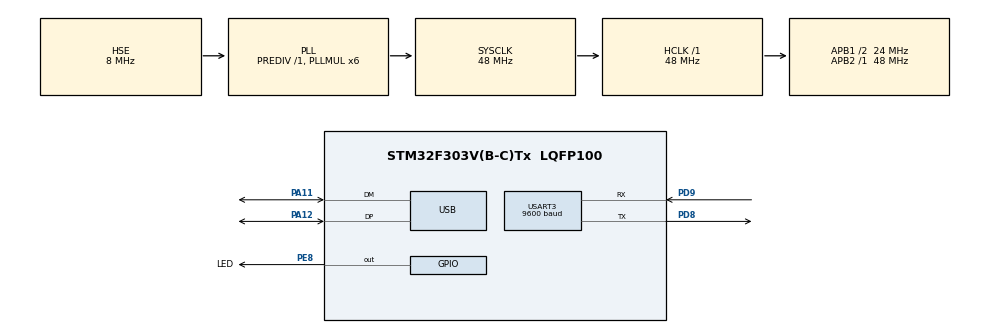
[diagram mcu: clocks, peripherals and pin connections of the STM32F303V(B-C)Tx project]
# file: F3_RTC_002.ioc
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Mcu.Family=STM32F3
Mcu.Name=STM32F303V(B-C)Tx
Mcu.Package=LQFP100
NVIC.PriorityGroup=NVIC_PRIORITYGROUP_4
NVIC.USB_LP_CAN_RX0_IRQn=true\:0\:0\:false\:false\:true\:false\:true
PA11.Mode=Device
PA11.Signal=USB_DM
PA12.Mode=Device
PA12.Signal=USB_DP
PA13.Mode=Serial_Wire
PA13.Signal=SYS_JTMS-SWDIO
PA14.Mode=Serial_Wire
PA14.Signal=SYS_JTCK-SWCLK
PD8.Mode=Asynchronous
PD8.Signal=USART3_TX
PD9.Mode=Asynchronous
PD9.Signal=USART3_RX
PE8.GPIO_Label=LED
PE8.Signal=GPIO_Output
PF0-OSC_IN.Mode=HSE-External-Oscillator
PF0-OSC_IN.Signal=RCC_OSC_IN
PF1-OSC_OUT.Mode=HSE-External-Oscillator
PF1-OSC_OUT.Signal=RCC_OSC_OUT
ProjectManager.HeapSize=0x200
ProjectManager.StackSize=0x400
ProjectManager.TargetToolchain=EWARM V8
RCC.AHBFreq_Value=48000000
RCC.APB1CLKDivider=RCC_HCLK_DIV2
RCC.APB1Freq_Value=24000000
RCC.APB1TimFreq_Value=48000000
RCC.APB2Freq_Value=48000000
RCC.APB2TimFreq_Value=48000000
RCC.CortexFreq_Value=48000000
RCC.HCLKFreq_Value=48000000
RCC.HSE_VALUE=8000000
RCC.HSI_VALUE=8000000
RCC.LSE_VALUE=32768
RCC.PLLMUL=RCC_PLL_MUL6
RCC.SYSCLKFreq_VALUE=48000000
RCC.SYSCLKSourceVirtual=RCC_SYSCLKSOURCE_PLLCLK
RCC.USBFreq_Value=48000000
RTC.AsynchPrediv=127
RTC.Hours=0
RTC.Month=RTC_MONTH_JANUARY
RTC.SynchPrediv=255
RTC.WeekDay=RTC_WEEKDAY_MONDAY
RTC.Year=19
USART3.BaudRate=9600
USART3.VirtualMode-Asynchronous=VM_ASYNC
USB_DEVICE.CLASS_NAME_FS=CDC
USB_DEVICE.VirtualMode=Cdc
USB_DEVICE.VirtualModeFS=Cdc_FS
VP_RTC_VS_RTC_Activate.Mode=RTC_Enabled
VP_RTC_VS_RTC_Calendar.Mode=RTC_Calendar
VP_USB_DEVICE_VS_USB_DEVICE_CDC_FS.Mode=CDC_FS
board=custom

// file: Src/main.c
/* USER CODE BEGIN Header */
/**
  ******************************************************************************
  * @file           : main.c
  * @brief          : Main program body
  ******************************************************************************
  * @attention
  *
  * <h2><center>&copy; Copyright (c) 2019 STMicroelectronics.
  * All rights reserved.</center></h2>
  *
  * This software component is licensed by ST under Ultimate Liberty license
  * SLA0044, the "License"; You may not use this file except in compliance with
  * the License. You may obtain a copy of the License at:
  *                             www.st.com/SLA0044
  *
  ******************************************************************************
  */
/* USER CODE END Header */

#include "main.h"
#include "usb_device.h"

RTC_HandleTypeDef hrtc;

UART_HandleTypeDef huart3;

void SystemClock_Config(void);
static void MX_GPIO_Init(void);
static void MX_RTC_Init(void);
static void MX_USART3_UART_Init(void);

/* USER CODE BEGIN 0 */
 uint8_t CDC_Transmit_FS(uint8_t* Buf, uint16_t Len);
/* USER CODE END 0 */

int main(void)
{
  /* USER CODE BEGIN 1 */
   RTC_TimeTypeDef sTime1;
   RTC_DateTypeDef sDate1;
   //RTC_DateTypeDef sDate1;
   uint8_t buffer[20];
  /* USER CODE END 1 */

  /* MCU Configuration--------------------------------------------------------*/

  /* Reset of all peripherals, Initializes the Flash interface and the Systick. */
  HAL_Init();

  /* Configure the system clock */
  SystemClock_Config();

  /* Initialize all configured peripherals */
  MX_GPIO_Init();
  MX_RTC_Init();
  MX_USB_DEVICE_Init();
  MX_USART3_UART_Init();

  /* Infinite loop */
  /* USER CODE BEGIN WHILE */
  while (1)
  {
    		HAL_RTC_GetTime(&hrtc, &sTime1, RTC_FORMAT_BCD);
		HAL_RTC_GetDate(&hrtc, &sDate1, RTC_FORMAT_BCD);

		buffer[0] = (sDate1.Date / 16) + 48;
		buffer[1] = (sDate1.Date % 16) + 48;
		buffer[2] = '.';
		buffer[3] = (sDate1.Month / 16) + 48;
		buffer[4] = (sDate1.Month % 16) + 48;
		buffer[5] = '.';
		buffer[6] = '2';
		buffer[7] = '0';
		buffer[8] = (sDate1.Year / 16) + 48;
		buffer[9] = (sDate1.Year % 16) + 48;
		buffer[10] ='@';
		buffer[11] = (sTime1.Hours / 16) + 48;
		buffer[12] = (sTime1.Hours % 16) + 48;
		buffer[13] = ':';
		buffer[14] = (sTime1.Minutes / 16) + 48;
		buffer[15] = (sTime1.Minutes % 16) + 48;
		buffer[16] = ':';
		buffer[17] = (sTime1.Seconds / 16) + 48;
		buffer[18] = (sTime1.Seconds % 16) + 48;

		CDC_Transmit_FS(buffer, 20);
		HAL_Delay(500);
    HAL_GPIO_TogglePin(LED_GPIO_Port, LED_Pin);	//LED Output Toggle
    HAL_Delay(500);
    /* USER CODE END WHILE */

  }
}

void SystemClock_Config(void)
{
  RCC_OscInitTypeDef RCC_OscInitStruct = {0};
  RCC_ClkInitTypeDef RCC_ClkInitStruct = {0};
  RCC_PeriphCLKInitTypeDef PeriphClkInit = {0};

  /** Initializes the CPU, AHB and APB busses clocks
  */
  RCC_OscInitStruct.OscillatorType = RCC_OSCILLATORTYPE_LSI|RCC_OSCILLATORTYPE_HSE;
  RCC_OscInitStruct.HSEState = RCC_HSE_ON;
  RCC_OscInitStruct.HSEPredivValue = RCC_HSE_PREDIV_DIV1;
  RCC_OscInitStruct.HSIState = RCC_HSI_ON;
  RCC_OscInitStruct.LSIState = RCC_LSI_ON;
  RCC_OscInitStruct.PLL.PLLState = RCC_PLL_ON;
  RCC_OscInitStruct.PLL.PLLSource = RCC_PLLSOURCE_HSE;
  RCC_OscInitStruct.PLL.PLLMUL = RCC_PLL_MUL6;
  if (HAL_RCC_OscConfig(&RCC_OscInitStruct) != HAL_OK)
  {
    Error_Handler();
  }
  /** Initializes the CPU, AHB and APB busses clocks
  */
  RCC_ClkInitStruct.ClockType = RCC_CLOCKTYPE_HCLK|RCC_CLOCKTYPE_SYSCLK
                              |RCC_CLOCKTYPE_PCLK1|RCC_CLOCKTYPE_PCLK2;
  RCC_ClkInitStruct.SYSCLKSource = RCC_SYSCLKSOURCE_PLLCLK;
  RCC_ClkInitStruct.AHBCLKDivider = RCC_SYSCLK_DIV1;
  RCC_ClkInitStruct.APB1CLKDivider = RCC_HCLK_DIV2;
  RCC_ClkInitStruct.APB2CLKDivider = RCC_HCLK_DIV1;

  if (HAL_RCC_ClockConfig(&RCC_ClkInitStruct, FLASH_LATENCY_1) != HAL_OK)
  {
    Error_Handler();
  }
  PeriphClkInit.PeriphClockSelection = RCC_PERIPHCLK_USB|RCC_PERIPHCLK_USART3
                              |RCC_PERIPHCLK_RTC;
  PeriphClkInit.Usart3ClockSelection = RCC_USART3CLKSOURCE_PCLK1;
  PeriphClkInit.RTCClockSelection = RCC_RTCCLKSOURCE_LSI;
  PeriphClkInit.USBClockSelection = RCC_USBCLKSOURCE_PLL;
  if (HAL_RCCEx_PeriphCLKConfig(&PeriphClkInit) != HAL_OK)
  {
    Error_Handler();
  }
}

static void MX_RTC_Init(void)
{

  RTC_TimeTypeDef sTime = {0};
  RTC_DateTypeDef sDate = {0};

  /** Initialize RTC Only
  */
  hrtc.Instance = RTC;
  hrtc.Init.HourFormat = RTC_HOURFORMAT_24;
  hrtc.Init.AsynchPrediv = 127;
  hrtc.Init.SynchPrediv = 255;
  hrtc.Init.OutPut = RTC_OUTPUT_DISABLE;
  hrtc.Init.OutPutPolarity = RTC_OUTPUT_POLARITY_HIGH;
  hrtc.Init.OutPutType = RTC_OUTPUT_TYPE_OPENDRAIN;
  if (HAL_RTC_Init(&hrtc) != HAL_OK)
  {
    Error_Handler();
  }

  /** Initialize RTC and set the Time and Date
  */
  sTime.Hours = 0x0;
  sTime.Minutes = 0x0;
  sTime.Seconds = 0x0;
  sTime.DayLightSaving = RTC_DAYLIGHTSAVING_NONE;
  sTime.StoreOperation = RTC_STOREOPERATION_RESET;
  if (HAL_RTC_SetTime(&hrtc, &sTime, RTC_FORMAT_BCD) != HAL_OK)
  {
    Error_Handler();
  }
  sDate.WeekDay = RTC_WEEKDAY_MONDAY;
  sDate.Month = RTC_MONTH_JANUARY;
  sDate.Date = 0x1;
  sDate.Year = 0x19;

  if (HAL_RTC_SetDate(&hrtc, &sDate, RTC_FORMAT_BCD) != HAL_OK)
  {
    Error_Handler();
  }

}

static void MX_USART3_UART_Init(void)
{

  huart3.Instance = USART3;
  huart3.Init.BaudRate = 9600;
  huart3.Init.WordLength = UART_WORDLENGTH_8B;
  huart3.Init.StopBits = UART_STOPBITS_1;
  huart3.Init.Parity = UART_PARITY_NONE;
  huart3.Init.Mode = UART_MODE_TX_RX;
  huart3.Init.HwFlowCtl = UART_HWCONTROL_NONE;
  huart3.Init.OverSampling = UART_OVERSAMPLING_16;
  huart3.Init.OneBitSampling = UART_ONE_BIT_SAMPLE_DISABLE;
  huart3.AdvancedInit.AdvFeatureInit = UART_ADVFEATURE_NO_INIT;
  if (HAL_UART_Init(&huart3) != HAL_OK)
  {
    Error_Handler();
  }

}

static void MX_GPIO_Init(void)
{
  GPIO_InitTypeDef GPIO_InitStruct = {0};

  /* GPIO Ports Clock Enable */
  __HAL_RCC_GPIOF_CLK_ENABLE();
  __HAL_RCC_GPIOE_CLK_ENABLE();
  __HAL_RCC_GPIOD_CLK_ENABLE();
  __HAL_RCC_GPIOA_CLK_ENABLE();

  /*Configure GPIO pin Output Level */
  HAL_GPIO_WritePin(LED_GPIO_Port, LED_Pin, GPIO_PIN_RESET);

  /*Configure GPIO pin : LED_Pin */
  GPIO_InitStruct.Pin = LED_Pin;
  GPIO_InitStruct.Mode = GPIO_MODE_OUTPUT_PP;
  GPIO_InitStruct.Pull = GPIO_NOPULL;
  GPIO_InitStruct.Speed = GPIO_SPEED_FREQ_LOW;
  HAL_GPIO_Init(LED_GPIO_Port, &GPIO_InitStruct);

}

void Error_Handler(void)
{
}

/************************ (C) COPYRIGHT STMicroelectronics *****END OF FILE****/
